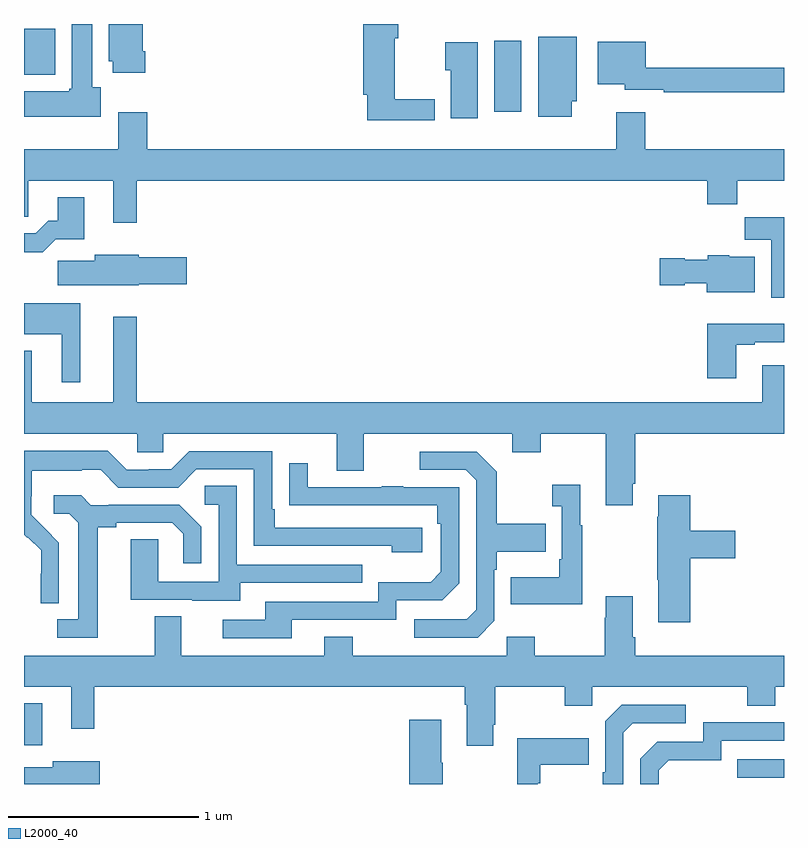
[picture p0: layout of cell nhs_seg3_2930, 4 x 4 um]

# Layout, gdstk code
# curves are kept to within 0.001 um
import gdstk
lib = gdstk.Library(unit=1e-6, precision=1e-09)
def R(c, l, rs):  # rectangles x0, y0, x1, y1
    for r in rs: c.add(gdstk.rectangle(r[:2], r[2:], *l))
def P(c, l, *ps):  # polygons
    for p in ps: c.add(gdstk.Polygon(p, *l))
L2000_40 = (2000, 40)

nhs_seg3_2930 = lib.new_cell('nhs_seg3_2930')
R(nhs_seg3_2930, L2000_40, [(266.755,704.433,267,704.529), (263,704.603,263.095,704.824), (265.475,707.937,265.618,708.313), (263,708.134,263.164,708.376)])
P(nhs_seg3_2930, L2000_40, [(263.404,708.066),(263.359,708.066),(263.359,708.4),(263.252,708.4),(263.252,708.06),(263.239,708.06),(263.239,708.046),(263,708.046),(263,707.912),(263.404,707.912)],
  [(265.162,708.004),(264.952,708.004),(264.952,708.326),(264.971,708.326),(264.971,708.4),(264.785,708.4),(264.785,708.027),(264.806,708.027),(264.806,707.894),(265.162,707.894)],
  [(263.639,708.256),(263.626,708.256),(263.626,708.4),(263.447,708.4),(263.447,708.204),(263.468,708.204),(263.468,708.144),(263.639,708.144)],
  [(265.882,707.994),(265.909,707.994),(265.909,708.334),(265.706,708.334),(265.706,707.912),(265.882,707.912)],
  [(267,708.17),(266.272,708.17),(266.272,708.307),(266.021,708.307),(266.021,708.083),(266.162,708.083),(266.162,708.054),(266.368,708.054),(266.368,708.042),(267,708.042)],
  [(265.387,708.304),(265.217,708.304),(265.217,708.157),(265.247,708.157),(265.247,707.904),(265.387,707.904)],
  [(263.593,707.576),(266.597,707.576),(266.597,707.452),(266.753,707.452),(266.753,707.576),(267,707.576),(267,707.74),(266.27,707.74),(266.27,707.935),(266.117,707.935),(266.117,707.74),(263.648,707.74),(263.648,707.935),(263.495,707.935),(263.495,707.74),(263,707.74),(263,707.386),(263.022,707.386),(263.022,707.576),(263.471,707.576),(263.471,707.355),(263.593,707.355)],
  [(263.168,707.267),(263.317,707.267),(263.317,707.488),(263.177,707.488),(263.177,707.365),(263.128,707.365),(263.061,707.298),(263,707.298),(263,707.198),(263.099,707.198)],
  [(267,707.383),(266.794,707.383),(266.794,707.264),(266.933,707.264),(266.933,706.958),(267,706.958)],
  [(263.604,707.03),(263.857,707.03),(263.857,707.172),(263.604,707.172),(263.604,707.185),(263.372,707.185),(263.372,707.153),(263.178,707.153),(263.178,707.024),(263.604,707.024)],
  [(266.845,707.176),(266.712,707.176),(266.712,707.182),(266.598,707.182),(266.598,707.158),(266.478,707.158),(266.478,707.166),(266.346,707.166),(266.346,707.024),(266.478,707.024),(266.478,707.036),(266.594,707.036),(266.594,706.988),(266.845,706.988)],
  [(263.296,706.93),(263,706.93),(263,706.766),(263.198,706.766),(263.198,706.515),(263.296,706.515)],
  [(266.203,705.979),(266.216,705.979),(266.216,706.244),(267,706.244),(267,706.603),(266.885,706.603),(266.885,706.408),(263.593,706.408),(263.593,706.858),(263.471,706.858),(263.471,706.408),(263.041,706.408),(263.041,706.681),(263,706.681),(263,706.244),(263.595,706.244),(263.595,706.146),(263.733,706.146),(263.733,706.244),(264.647,706.244),(264.647,706.05),(264.787,706.05),(264.787,706.244),(265.571,706.244),(265.571,706.145),(265.719,706.145),(265.719,706.244),(266.063,706.244),(266.063,705.867),(266.203,705.867)],
  [(266.749,706.713),(266.845,706.713),(266.845,706.725),(267,706.725),(267,706.822),(266.597,706.822),(266.597,706.536),(266.749,706.536)],
  [(263.184,705.67),(263.038,705.818),(263.038,705.915),(263.04,705.915),(263.04,706.049),(263.303,706.049),(263.303,706.053),(263.403,706.053),(263.496,705.96),(263.811,705.96),(263.907,706.056),(264.21,706.056),(264.21,705.654),(264.935,705.654),(264.935,705.62),(265.096,705.62),(265.096,705.75),(264.319,705.75),(264.319,705.847),(264.306,705.847),(264.306,706.152),(263.871,706.152),(263.775,706.056),(263.657,706.056),(263.657,706.053),(263.541,706.053),(263.441,706.153),(263,706.153),(263,705.712),(263.016,705.696),(263.019,705.699),(263.09,705.629),(263.09,705.506),(263.088,705.506),(263.088,705.352),(263.184,705.352)],
  [(265.476,705.258),(265.476,705.527),(265.489,705.527),(265.489,705.623),(265.745,705.623),(265.745,705.771),(265.489,705.771),(265.489,706.043),(265.383,706.149),(265.083,706.149),(265.083,706.053),(265.326,706.053),(265.38,705.999),(265.38,705.318),(265.329,705.267),(265.053,705.267),(265.053,705.171),(265.389,705.171)],
  [(264.409,705.264),(264.96,705.264),(264.96,705.366),(265.2,705.366),(265.29,705.456),(265.29,705.963),(264.995,705.963),(264.995,705.968),(264.883,705.968),(264.883,705.963),(264.493,705.963),(264.493,706.087),(264.397,706.087),(264.397,705.868),(265.174,705.867),(265.174,705.77),(265.194,705.77),(265.194,705.516),(265.141,705.463),(264.864,705.463),(264.864,705.36),(264.269,705.36),(264.269,705.264),(264.045,705.264),(264.045,705.168),(264.409,705.168)],
  [(265.939,705.763),(265.927,705.763),(265.927,705.976),(265.779,705.976),(265.779,705.863),(265.83,705.863),(265.83,705.583),(265.818,705.583),(265.818,705.487),(265.561,705.487),(265.561,705.347),(265.939,705.347)],
  [(264.139,705.459),(264.779,705.459),(264.779,705.555),(264.12,705.555),(264.12,705.971),(263.952,705.971),(263.952,705.87),(264.024,705.87),(264.024,705.465),(263.706,705.465),(263.706,705.689),(263.561,705.689),(263.561,705.369),(263.885,705.369),(263.885,705.365),(264.139,705.365)],
  [(266.507,705.587),(266.743,705.587),(266.743,705.734),(266.507,705.734),(266.507,705.919),(266.339,705.919),(266.339,705.806),(266.332,705.806),(266.332,705.475),(266.339,705.475),(266.339,705.252),(266.507,705.252)],
  [(263.389,705.752),(263.485,705.752),(263.485,705.774),(263.78,705.774),(263.837,705.717),(263.837,705.561),(263.934,705.561),(263.934,705.754),(263.818,705.87),(263.446,705.87),(263.446,705.867),(263.352,705.867),(263.3,705.919),(263.157,705.919),(263.157,705.822),(263.238,705.822),(263.285,705.775),(263.285,705.267),(263.175,705.267),(263.175,705.171),(263.389,705.171)],
  [(265.471,704.713),(265.479,704.713),(265.479,704.912),(265.846,704.912),(265.846,704.813),(265.992,704.813),(265.992,704.912),(266.806,704.912),(266.806,704.813),(266.953,704.813),(266.953,704.912),(267,704.912),(267,705.076),(266.216,705.076),(266.216,705.172),(266.203,705.172),(266.203,705.388),(266.063,705.388),(266.063,705.275),(266.056,705.275),(266.056,705.076),(265.689,705.076),(265.689,705.175),(265.542,705.175),(265.542,705.076),(264.729,705.076),(264.729,705.175),(264.581,705.175),(264.581,705.076),(263.827,705.076),(263.827,705.284),(263.687,705.284),(263.687,705.076),(263,705.076),(263,704.912),(263.249,704.912),(263.249,704.691),(263.371,704.691),(263.371,704.912),(265.319,704.912),(265.319,704.816),(265.331,704.816),(265.331,704.601),(265.471,704.601)],
  [(266.154,704.67),(266.205,704.721),(266.482,704.721),(266.482,704.817),(266.145,704.817),(266.058,704.73),(266.058,704.461),(266.046,704.461),(266.046,704.4),(266.154,704.4)],
  [(265.203,704.513),(265.195,704.513),(265.195,704.737),(265.028,704.737),(265.028,704.4),(265.203,704.4)],
  [(266.34,704.472),(266.393,704.525),(266.67,704.525),(266.67,704.628),(267,704.628),(267,704.724),(266.574,704.724),(266.574,704.622),(266.334,704.622),(266.244,704.532),(266.244,704.4),(266.34,704.4)],
  [(265.704,704.405),(265.717,704.405),(265.717,704.501),(265.973,704.501),(265.973,704.641),(265.596,704.641),(265.596,704.4),(265.704,704.4)],
  [(263.399,704.521),(263.15,704.521),(263.15,704.489),(263,704.489),(263,704.4),(263.399,704.4)])

lib.write_gds('nhs_seg3_2930.gds')
